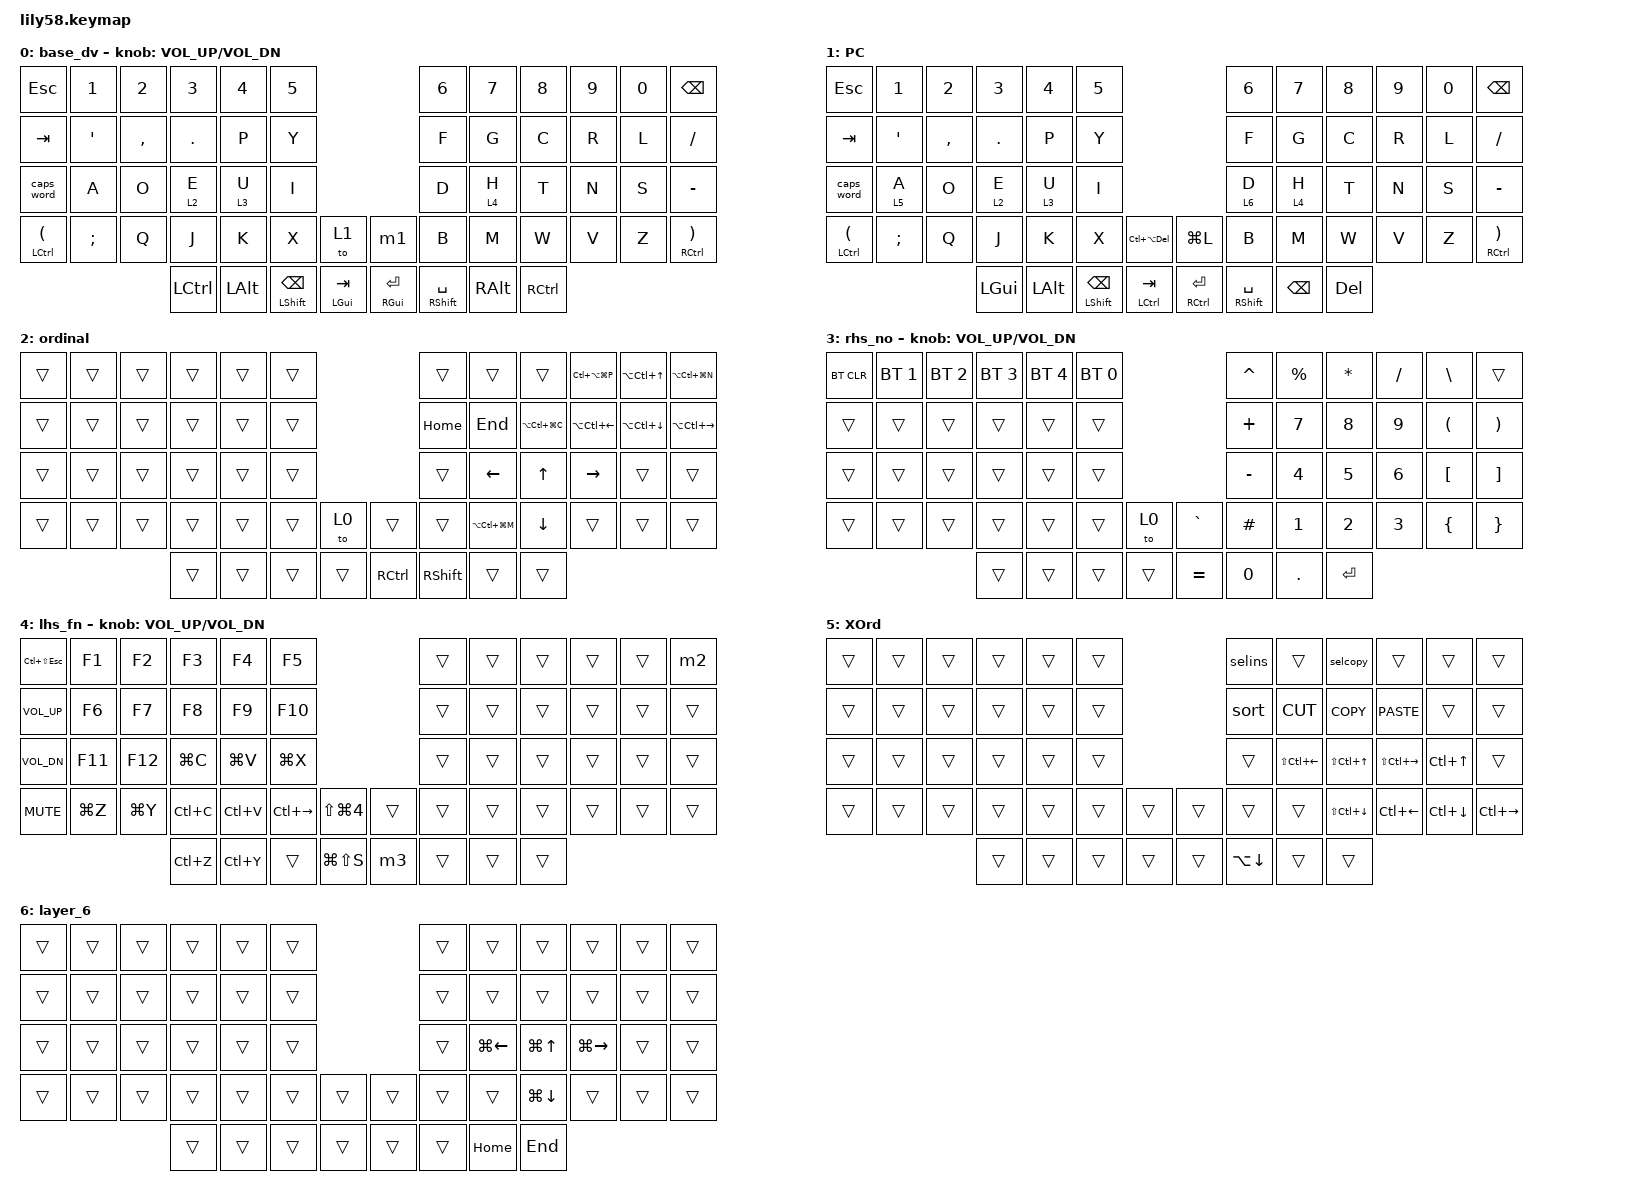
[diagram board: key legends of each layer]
/*
 * Copyright (c) 2020 The ZMK Contributors
 *
 * SPDX-License-Identifier: MIT
 */

#include <behaviors.dtsi>
#include <dt-bindings/zmk/bt.h>
#include <dt-bindings/zmk/keys.h>
#include <dt-bindings/zmk/keys.h>

/ {
    macros {
        m1: m1 {
            compatible = "zmk,behavior-macro";
            label = "M1";
            #binding-cells = <0>;
            bindings = <&none &kp LS(W) &kp A &kp R &kp AMPS &kp P &kp N3 &kp A &kp C &kp E &kp DOT &kp EXCL &kp AT>;
        };

        m2: m2 {
            compatible = "zmk,behavior-macro";
            label = "M2";
            #binding-cells = <0>;
            bindings = <&kp LS(W) &kp A &kp R &kp AMPS &kp P &kp N3 &kp A &kp C &kp E &kp EXCL>;
        };

        sort: sort {
            compatible = "zmk,behavior-macro";
            label = "SORT";
            #binding-cells = <0>;
            bindings = <&kp LEFT_ALT &kp H &kp S &kp F>;
        };

        selins: selins {
            compatible = "zmk,behavior-macro";
            label = "SELINS";
            #binding-cells = <0>;
            bindings = <&kt LCTRL &kp LSHFT &kp RIGHT &kp DOWN &kt LCTRL &kt LEFT_SHIFT &kp LEFT_ALT &kp N>;
        };

        pval: pval {
            compatible = "zmk,behavior-macro";
            label = "PVAL";
            #binding-cells = <0>;
            bindings = <&kp LEFT_ALT &kp H &kp V &kp V>;
        };

        selcopy: selcopy {
            compatible = "zmk,behavior-macro";
            label = "SELCOPY";
            #binding-cells = <0>;
            bindings = <&kt LCTRL &kt LSHIFT &kp RIGHT &kp DOWN &kt LCTRL &kt LSHIFT &kp LC(C)>;
        };

        m3: m3 {
            compatible = "zmk,behavior-macro";
            label = "M3";
            #binding-cells = <0>;
            bindings = <&kp N4 &kp N3 &kp N9 &kp N1 &kp N3 &kp N2 &kp N0 &kp N2>;
        };
    };

    behaviors {
        hm: hm {
            compatible = "zmk,behavior-hold-tap";
            label = "HM";
            bindings = <&mo>, <&kp>;

            #binding-cells = <2>;
            tapping-term-ms = <150>;
            flavor = "tap-preferred";
        };
    };

    keymap {
        compatible = "zmk,keymap";

        base_dv {
            // ------------------------------------------------------------------------------------------------------------
            // |  ESC  |  1  |  2  |  3   |  4   |  5   |                   |  6   |  7    |  8    |  9   |   0   |   `   |
            // |  TAB  |  Q  |  W  |  E   |  R   |  T   |                   |  Y   |  U    |  I    |  O   |   P   |   -   |
            // |  CTRL |  A  |  S  |  D   |  F   |  G   |                   |  H   |  J    |  K    |  L   |   ;   |   '   |
            // | SHIFT |  Z  |  X  |  C   |  V   |  B   |   "["  |  |  "]"  |  N   |  M    |  ,    |  .   |   /   | SHIFT |
            //                     | ALT  | GUI  | LOWER|  ENTER |  | SPACE | RAISE| BSPC  | GUI   |

            bindings = <
&kp ESC         &kp N1    &kp N2     &kp N3      &kp N4        &kp N5                                                  &kp N6                 &kp N7         &kp N8     &kp N9  &kp N0  &kp BACKSPACE
&kp TAB         &kp SQT   &kp COMMA  &kp PERIOD  &kp P         &kp Y                                                   &kp F                  &kp G          &kp C      &kp R   &kp L   &kp FSLH
&caps_word      &kp A     &kp O      &hm 2 E     &hm 3 U       &kp I                                                   &kp D                  &hm 4 H        &kp T      &kp N   &kp S   &kp MINUS
&mt LCTRL LPAR  &kp SEMI  &kp Q      &kp J       &kp K         &kp X                     &to 1         &m1             &kp B                  &kp M          &kp W      &kp V   &kp Z   &mt RCTRL RPAR
                                     &kp LCTRL   &kp LEFT_ALT  &mt LEFT_SHIFT BACKSPACE  &mt LGUI TAB  &mt RGUI ENTER  &mt RIGHT_SHIFT SPACE  &kp RIGHT_ALT  &kp RCTRL
            >;

            sensor-bindings = <&inc_dec_kp C_VOL_UP C_VOL_DN>;
            label = "base_dv";
        };

        alternate {
            bindings = <
&kp ESC         &kp N1    &kp N2     &kp N3    &kp N4        &kp N5                                                 &kp N6            &kp N7         &kp N8   &kp N9  &kp N0  &kp BSPC
&kp TAB         &kp SQT   &kp COMMA  &kp DOT   &kp P         &kp Y                                                  &kp F             &kp G          &kp C    &kp R   &kp L   &kp FSLH
&caps_word      &hm 5 A   &kp O      &hm 2 E   &hm 3 U       &kp I                                                  &hm 6 D           &hm 4 H        &kp T    &kp N   &kp S   &kp MINUS
&mt LCTRL LPAR  &kp SEMI  &kp Q      &kp J     &kp K         &kp X                &kp LC(LA(DEL))  &kp LG(L)        &kp B             &kp M          &kp W    &kp V   &kp Z   &mt RCTRL RPAR
                                     &kp LGUI  &kp LEFT_ALT  &mt LSHFT BACKSPACE  &mt LCTRL TAB    &mt RCTRL ENTER  &mt RSHIFT SPACE  &kp BACKSPACE  &kp DEL
            >;

            label = "PC";
        };

        ordinal {
            bindings = <
&trans  &trans  &trans  &trans  &trans  &trans                     &trans           &trans             &trans             &kp LC(LA(LG(P)))  &kp LA(LC(UP))    &kp LA(LC(LG(N)))
&trans  &trans  &trans  &trans  &trans  &trans                     &kp HOME         &kp END            &kp LA(LC(LG(C)))  &kp LA(LC(LEFT))   &kp LA(LC(DOWN))  &kp LA(LC(RIGHT))
&trans  &trans  &trans  &trans  &trans  &trans                     &trans           &kp LEFT           &kp UP             &kp RIGHT          &trans            &trans
&trans  &trans  &trans  &trans  &trans  &trans  &to 0   &trans     &trans           &kp LA(LC(LG(M)))  &kp DOWN           &trans             &trans            &trans
                        &trans  &trans  &trans  &trans  &kp RCTRL  &kp RIGHT_SHIFT  &trans             &trans
            >;

            label = "ordinal";
        };

        rhs_no {
            // ------------------------------------------------------------------------------------------------------------
            // | BTCLR | BT1 | BT2 |  BT3 |  BT4 |  BT5 |                   |      |       |       |      |       |       |
            // |  F1   |  F2 |  F3 |  F4  |  F5  |  F6  |                   |  F7  |  F8   |  F9   |  F10 |  F11  |  F12  |
            // |   `   |  !  |  @  |  #   |  $   |  %   |                   |  ^   |  &    |  *    |  (   |   )   |   ~   |
            // |       |     |     |      |      |      |        |  |       |      |  _    |  +    |  {   |   }   |  "|"  |
            //                     |      |      |      |        |  |       |      |       |       |

            bindings = <
&bt BT_CLR  &bt BT_SEL 1  &bt BT_SEL 2  &bt BT_SEL 3  &bt BT_SEL 4  &bt BT_SEL 0                     &kp CARET     &kp PRCNT   &kp ASTRK  &kp SLASH  &kp BACKSLASH         &trans
&trans      &trans        &trans        &trans        &trans        &trans                           &kp PLUS      &kp N7      &kp N8     &kp N9     &kp LEFT_PARENTHESIS  &kp RIGHT_PARENTHESIS
&trans      &trans        &trans        &trans        &trans        &trans                           &kp MINUS     &kp N4      &kp N5     &kp N6     &kp LEFT_BRACKET      &kp RIGHT_BRACKET
&trans      &trans        &trans        &trans        &trans        &trans        &to 0   &kp GRAVE  &kp POUND     &kp N1      &kp N2     &kp N3     &kp LEFT_BRACE        &kp RIGHT_BRACE
                                        &trans        &trans        &trans        &trans  &kp EQUAL  &kp NUMBER_0  &kp PERIOD  &kp ENTER
            >;

            sensor-bindings = <&inc_dec_kp C_VOL_UP C_VOL_DN>;
            label = "rhs_no";
        };

        lhs_fn {
            // ------------------------------------------------------------------------------------------------------------
            // |       |     |     |      |      |      |                   |      |       |       |      |       |       |
            // |   `   |  1  |  2  |  3   |  4   |  5   |                   |  6   |   7   |   8   |  9   |   0   |       |
            // |   F1  |  F2 |  F3 |  F4  |  F5  |  F6  |                   |      |   <-  |   v   |  ^   |  ->   |       |
            // |   F7  |  F8 |  F9 |  F10 |  F11 |  F12 |        |  |       |  +   |   -   |   =   |  [   |   ]   |   \   |
            //                     |      |      |      |        |  |       |      |       |       |

            bindings = <
&kp LC(LS(ESCAPE))  &kp F1     &kp F2     &kp F3     &kp F4     &kp F5                                       &trans  &trans  &trans  &trans  &trans  &m2
&kp C_VOL_UP        &kp F6     &kp F7     &kp F8     &kp F9     &kp F10                                      &trans  &trans  &trans  &trans  &trans  &trans
&kp C_VOL_DN        &kp F11    &kp F12    &kp LG(C)  &kp LG(V)  &kp LG(X)                                    &trans  &trans  &trans  &trans  &trans  &trans
&kp K_MUTE          &kp LG(Z)  &kp LG(Y)  &kp LC(C)  &kp LC(V)  &kp LC(RIGHT)  &kp LS(LG(NUMBER_4))  &trans  &trans  &trans  &trans  &trans  &trans  &trans
                                          &kp LC(Z)  &kp LC(Y)  &trans         &kp LG(LS(S))         &m3     &trans  &trans  &trans
            >;

            sensor-bindings = <&inc_dec_kp C_VOL_UP C_VOL_DN>;
            label = "lhs_fn";
        };

        excel {
            bindings = <
&trans  &trans  &trans  &trans  &trans  &trans                  &selins       &trans            &selcopy          &trans             &trans            &trans
&trans  &trans  &trans  &trans  &trans  &trans                  &sort         &kp K_CUT         &kp K_COPY        &kp K_PASTE        &trans            &trans
&trans  &trans  &trans  &trans  &trans  &trans                  &trans        &kp LS(LC(LEFT))  &kp LS(LC(UP))    &kp LS(LC(RIGHT))  &kp LC(UP_ARROW)  &trans
&trans  &trans  &trans  &trans  &trans  &trans  &trans  &trans  &trans        &trans            &kp LS(LC(DOWN))  &kp LC(LEFT)       &kp LC(DOWN)      &kp LC(RIGHT)
                        &trans  &trans  &trans  &trans  &trans  &kp LA(DOWN)  &trans            &trans
            >;

            label = "XOrd";
        };

        layer_6 {
            bindings = <
&trans  &trans  &trans  &trans  &trans  &trans                  &trans  &trans        &trans        &trans         &trans  &trans
&trans  &trans  &trans  &trans  &trans  &trans                  &trans  &trans        &trans        &trans         &trans  &trans
&trans  &trans  &trans  &trans  &trans  &trans                  &trans  &kp LG(LEFT)  &kp LG(UP)    &kp LG(RIGHT)  &trans  &trans
&trans  &trans  &trans  &trans  &trans  &trans  &trans  &trans  &trans  &trans        &kp LG(DOWN)  &trans         &trans  &trans
                        &trans  &trans  &trans  &trans  &trans  &trans  &kp HOME      &kp END
            >;
        };
    };
};
